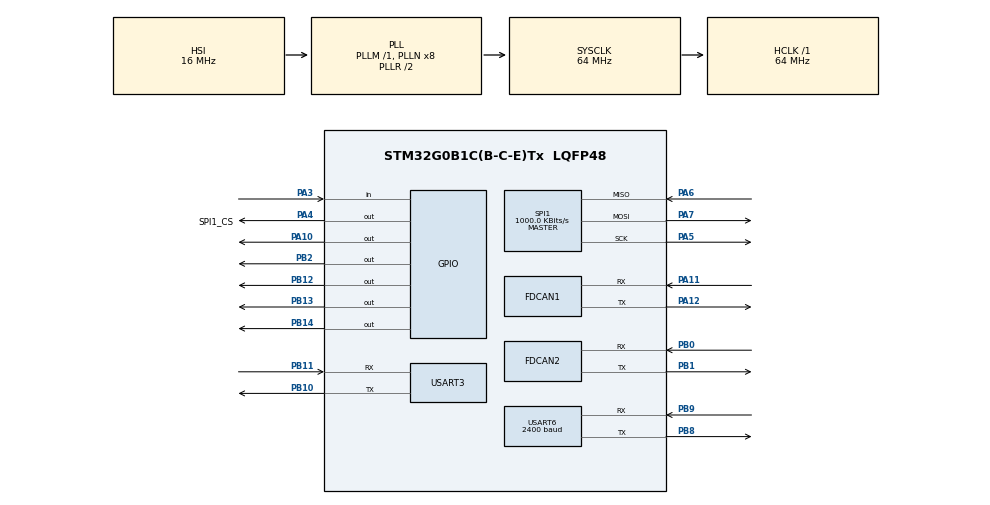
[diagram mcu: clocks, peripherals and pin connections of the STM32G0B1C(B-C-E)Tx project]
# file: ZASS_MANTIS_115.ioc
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Dma.Request0=USART6_RX
Dma.USART6_RX.0.Direction=DMA_PERIPH_TO_MEMORY
Dma.USART6_RX.0.EventEnable=DISABLE
Dma.USART6_RX.0.Instance=DMA1_Channel1
Dma.USART6_RX.0.MemDataAlignment=DMA_MDATAALIGN_BYTE
Dma.USART6_RX.0.MemInc=DMA_MINC_ENABLE
Dma.USART6_RX.0.Mode=DMA_CIRCULAR
Dma.USART6_RX.0.PeriphDataAlignment=DMA_PDATAALIGN_BYTE
Dma.USART6_RX.0.PeriphInc=DMA_PINC_DISABLE
Dma.USART6_RX.0.Polarity=HAL_DMAMUX_REQ_GEN_RISING
Dma.USART6_RX.0.Priority=DMA_PRIORITY_LOW
Dma.USART6_RX.0.RequestNumber=1
Dma.USART6_RX.0.SignalID=NONE
Dma.USART6_RX.0.SyncEnable=DISABLE
Dma.USART6_RX.0.SyncPolarity=HAL_DMAMUX_SYNC_NO_EVENT
Dma.USART6_RX.0.SyncRequestNumber=1
Dma.USART6_RX.0.SyncSignalID=NONE
FATFS._USE_LABEL=1
FATFS._USE_LFN=3
FDCAN1.AutoRetransmission=ENABLE
FDCAN1.CalculateBaudRateNominal=250000
FDCAN1.CalculateTimeBitNominal=4000
FDCAN1.CalculateTimeQuantumNominal=250.0
FDCAN1.NominalTimeSeg1=13
FDCAN1.NominalTimeSeg2=2
FDCAN2.AutoRetransmission=ENABLE
FDCAN2.CalculateBaudRateNominal=125000
FDCAN2.CalculateTimeBitNominal=8000
FDCAN2.CalculateTimeQuantumNominal=500.0
FDCAN2.NominalPrescaler=32
FDCAN2.NominalTimeSeg1=13
FDCAN2.NominalTimeSeg2=2
FREERTOS.Tasks01=defaultTask,24,256,StartDefaultTask,Default,NULL,Dynamic,NULL,NULL;myTask02,8,2048,StartTask02,Default,NULL,Dynamic,NULL,NULL
FREERTOS.configTOTAL_HEAP_SIZE=20480
Mcu.Family=STM32G0
Mcu.Name=STM32G0B1C(B-C-E)Tx
Mcu.Package=LQFP48
NVIC.DMA1_Channel1_IRQn=true\:3\:0\:false\:false\:true\:true\:false\:true\:true
NVIC.TIM16_FDCAN_IT0_IRQn=true\:3\:0\:false\:false\:true\:true\:true\:true\:true
NVIC.TIM17_FDCAN_IT1_IRQn=true\:3\:0\:false\:false\:true\:true\:true\:true\:true
NVIC.TIM2_IRQn=true\:3\:0\:false\:false\:true\:false\:false\:true\:true
NVIC.TimeBase=TIM2_IRQn
NVIC.TimeBaseIP=TIM2
NVIC.USART3_4_5_6_LPUART1_IRQn=true\:3\:0\:false\:false\:true\:true\:true\:true\:true
PA10.Signal=GPIO_Output
PA11\ [PA9].Mode=FDCAN_Activate
PA11\ [PA9].Signal=FDCAN1_RX
PA12\ [PA10].Mode=FDCAN_Activate
PA12\ [PA10].Signal=FDCAN1_TX
PA13.Mode=Serial_Wire
PA13.Signal=SYS_SWDIO
PA14-BOOT0.Mode=Serial_Wire
PA14-BOOT0.Signal=SYS_SWCLK
PA3.Signal=GPIO_Input
PA4.GPIO_Label=SPI1_CS
PA4.GPIO_Speed=GPIO_SPEED_FREQ_VERY_HIGH
PA4.Signal=GPIO_Output
PA5.GPIO_Speed=GPIO_SPEED_FREQ_VERY_HIGH
PA5.Mode=Full_Duplex_Master
PA5.Signal=SPI1_SCK
PA6.GPIO_Speed=GPIO_SPEED_FREQ_VERY_HIGH
PA6.Mode=Full_Duplex_Master
PA6.Signal=SPI1_MISO
PA7.GPIO_Speed=GPIO_SPEED_FREQ_VERY_HIGH
PA7.Mode=Full_Duplex_Master
PA7.Signal=SPI1_MOSI
PB0.Mode=FDCAN_Activate
PB0.Signal=FDCAN2_RX
PB1.Mode=FDCAN_Activate
PB1.Signal=FDCAN2_TX
PB10.Mode=Asynchronous
PB10.Signal=USART3_TX
PB11.Mode=Asynchronous
PB11.Signal=USART3_RX
PB12.Signal=GPIO_Output
PB13.Signal=GPIO_Output
PB14.Signal=GPIO_Output
PB2.Signal=GPIO_Output
PB8.Mode=Asynchronous
PB8.Signal=USART6_TX
PB9.Mode=Asynchronous
PB9.Signal=USART6_RX
PC14-OSC32_IN\ (PC14).Mode=LSE-External-Oscillator
PC14-OSC32_IN\ (PC14).Signal=RCC_OSC32_IN
PC15-OSC32_OUT\ (PC15).Mode=LSE-External-Oscillator
PC15-OSC32_OUT\ (PC15).Signal=RCC_OSC32_OUT
PF0-OSC_IN\ (PF0).Mode=HSE-External-Oscillator
PF0-OSC_IN\ (PF0).Signal=RCC_OSC_IN
PF1-OSC_OUT\ (PF1).Mode=HSE-External-Oscillator
PF1-OSC_OUT\ (PF1).Signal=RCC_OSC_OUT
ProjectManager.HeapSize=0x200
ProjectManager.StackSize=0x400
ProjectManager.TargetToolchain=STM32CubeIDE
RCC.ADCFreq_Value=64000000
RCC.AHBFreq_Value=64000000
RCC.CortexFreq_Value=64000000
RCC.EXTERNAL_CLOCK_VALUE=48000
RCC.HCLKFreq_Value=64000000
RCC.HSE_VALUE=24000000
RCC.HSI48_VALUE=48000000
RCC.HSI_VALUE=16000000
RCC.SYSCLKFreq_VALUE=64000000
RCC.SYSCLKSource=RCC_SYSCLKSOURCE_PLLCLK
RCC.USBFreq_Value=48000000
RCC.VCOOutputFreq_Value=128000000
SPI1.BaudRatePrescaler=SPI_BAUDRATEPRESCALER_64
SPI1.CalculateBaudRate=1000.0 KBits/s
SPI1.DataSize=SPI_DATASIZE_8BIT
SPI1.Direction=SPI_DIRECTION_2LINES
SPI1.Mode=SPI_MODE_MASTER
SPI1.VirtualType=VM_MASTER
USART3.VirtualMode-Asynchronous=VM_ASYNC
USART6.BaudRate=2400
USART6.SwapParam=ADVFEATURE_SWAP_DISABLE
USART6.VirtualMode-Asynchronous=VM_ASYNC
VP_FATFS_VS_Generic.Mode=User_defined
VP_FREERTOS_VS_CMSIS_V2.Mode=CMSIS_V2
VP_RTC_VS_RTC_Activate.Mode=RTC_Enabled
VP_SYS_VS_DBSignals.Mode=DisableDeadBatterySignals
VP_SYS_VS_tim2.Mode=TIM2
board=custom

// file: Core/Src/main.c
/* USER CODE BEGIN Header */
/**
  ******************************************************************************
  * @file           : main.c
  * @brief          : Main program body
  ******************************************************************************
  * @attention
  *
  * Copyright (c) 2026 STMicroelectronics.
  * All rights reserved.
  *
  * This software is licensed under terms that can be found in the LICENSE file
  * in the root directory of this software component.
  * If no LICENSE file comes with this software, it is provided AS-IS.
  *
  ******************************************************************************
  */
/* USER CODE END Header */
#include "main.h"
#include "cmsis_os.h"
#include "app_fatfs.h"

/* USER CODE BEGIN Includes */
#include "stdint.h"
#include "stdbool.h"
#include "string.h"
#include "guvenlik.h"   /* GUVENLIK: 8 kural uyari modulu */
#include "bms_veri.h"   /* BMS: UART6 cozumu + etkin kaynak + SD satirlari */
#include "saat.h"       /* SAAT: RTC (LSE + pil) */
#include "Task_SDCard.h"/* SD: kayit gorevi */

/* USER CODE END Includes */

/* USER CODE BEGIN PTD */
volatile uint32_t chg_busoff_sayaci  = 0;   /* debug: kac kez bus-off oldu      */
volatile uint8_t  chg_hat_durumu     = 0;   /* debug: 0=sessiz 1=gonderiyor 2=busoff */
volatile uint32_t charger_rx_last_ms = 0;
volatile uint8_t  charger_seen       = 0;
/* USER CODE END PTD */

/* USER CODE BEGIN PD */
#define BMS_VOLT_MIN 16.0f
#define BMS_VOLT_MAX 30.0f
volatile uint8_t  bms_data_ready;    /* yeni cozulmus veri var */
volatile uint8_t  bms_dump_ready;    /* yeni ham paket var (dump icin) */
volatile uint8_t  bms_data_valid;    /* en az bir GECERLI (sifir-olmayan) paket geldi */
volatile uint32_t bms_last_rx_ms;    /* son gecerli paketin HAL_GetTick() zamani */
#define CHARGER_CAN   hfdcan2         /* sarj cihazi 2. CAN hattinda (125 kbps!) */

uint8_t data[8];

/* USER CODE END PD */

/* USER CODE BEGIN PM */
uint16_t BMS = 0;
#define RX_BUF_SIZE 256
uint8_t dma_rx_buf[RX_BUF_SIZE];
#define BMS_PAYLOAD_LENGTH 90
float gercek_akim;
uint16_t CurentCounter ;
uint8_t isFirstStart = 0;

uint8_t rx_byte;                 // Anlık okunan 1 byte
uint8_t bms_payload[BMS_PAYLOAD_LENGTH]; // Yakalanan 90 bytelık ana veri
uint16_t payload_index = 0;
volatile uint8_t bms_data_ready = 0;     // Ana döngüye haber verecek bayrak
uint8_t x;
uint8_t dma_raw_buffer[256]; // DMA'nın ham veri karalama defteri
   // Asla kaymayan, jilet gibi sabit dizimiz
volatile uint8_t packet_count = 0; // Kaç tane sağlam paket yakaladık (Debug için)
uint8_t x,y;
bms_data_t my_bms_can;                       // CAN'dan cozulen veri (my_bms'in ikizi)
FDCAN_Message_t receivedMessage[16];
FDCAN_RxHeaderTypeDef RxHeader;
FDCAN_RxHeaderTypeDef TxHeader;
uint8_t RxData[8];
uint8_t TxData[8] = {11,22,33,44,55,66,77,88};
volatile uint8_t  can_data_ready = 0;        // CAN'dan gecerli veri geldi
volatile uint32_t can_last_rx_ms = 0;        // son CAN karesinin zamani
static volatile uint8_t CAN_First_Data_Flag = 0;
uint8_t alarm ;
/* BMS'ten gelen sarj istegi (0x1806E5F4, BIG-ENDIAN) */
uint8_t  chg_raw[4];                  /* gerilim+akim ham 4 byte (aynen kopyalanacak) */
uint8_t  chg_sw      = 1;             /* 0 = sarj cihazi ACIK, 1 = KAPALI */
uint8_t  chg_heat    = 0;             /* 0 = sarj modu, 1 = isitma modu */
volatile uint8_t  chg_data_ready = 0;
volatile uint32_t chg_last_rx_ms = 0;

/* Sarj cihazindan gelen durum (0x227) */
uint16_t charger_volt = 0;            /* 0.1 V */
uint16_t charger_curr = 0;            /* 0.1 A */
uint8_t  charger_status = 0;          /* bit0 HW, bit1 sicaklik, bit2 giris, bit3 start, bit4 haberlesme */
volatile uint32_t charger_last_rx_ms = 0;
uint8_t taze;
/* USER CODE END PM */

FDCAN_HandleTypeDef hfdcan1;
FDCAN_HandleTypeDef hfdcan2;

RTC_HandleTypeDef hrtc;

SPI_HandleTypeDef hspi1;

UART_HandleTypeDef huart3;
UART_HandleTypeDef huart6;
DMA_HandleTypeDef hdma_usart6_rx;

/* Definitions for defaultTask */
osThreadId_t defaultTaskHandle;
const osThreadAttr_t defaultTask_attributes = {
  .name = "defaultTask",
  .priority = (osPriority_t) osPriorityNormal,
  .stack_size = 256 * 4
};
/* Definitions for myTask02 */
osThreadId_t myTask02Handle;
const osThreadAttr_t myTask02_attributes = {
  .name = "myTask02",
  .priority = (osPriority_t) osPriorityLow,
  .stack_size = 2048 * 4
};
/* USER CODE BEGIN PV */
RTC_DateTypeDef sDate;
RTC_TimeTypeDef sTime;
/* USER CODE END PV */

void SystemClock_Config(void);
static void MX_GPIO_Init(void);
static void MX_DMA_Init(void);
static void MX_SPI1_Init(void);
static void MX_RTC_Init(void);
static void MX_USART3_UART_Init(void);
static void MX_USART6_UART_Init(void);
static void MX_FDCAN1_Init(void);
static void MX_FDCAN2_Init(void);
void StartDefaultTask(void *argument);
void StartTask02(void *argument);

/* USER CODE BEGIN PFP */
// JK BMS "Tüm Verileri Oku" sihirli dizisi

/* USER CODE END PFP */

/* USER CODE BEGIN 0 */

void Charger_Mesaj_Gonder(void)
{

    taze = (chg_data_ready && (HAL_GetTick() - chg_last_rx_ms) <= 3000);

    if (taze) {
        data[0] = chg_raw[0];         // istenen max sarj gerilimi MSB (aynen)
        data[1] = chg_raw[1];         //                           LSB
        data[2] = chg_raw[2];         // istenen max sarj akimi    MSB (aynen)
        data[3] = chg_raw[3];         //                           LSB
        if      (chg_heat == 1) data[4] = 2;   // 2 = isitmayi baslat
        else if (chg_sw   == 1) data[4] = 1;   // 1 = sarji durdur
        else                    data[4] = 0;   // 0 = sarji baslat
    } else {
        /* BMS istegi yok/bayat -> GUVENLI TARAF: sifir talep + DUR komutu */
        data[0] = 0; data[1] = 0; data[2] = 0; data[3] = 0;
        data[4] = 1;
    }
    data[5] = (my_bms_can.soc >= 100) ? 1 : 0;   // SOC %100 bayragi
    data[6] = (uint8_t)my_bms_can.soc;           // SOC 0..100
    data[7] = 0;  // yedek

    TxHeader.Identifier          = 0x272;
    TxHeader.IdType              = FDCAN_STANDARD_ID;
    TxHeader.DataLength          = FDCAN_DLC_BYTES_8;
    TxHeader.ErrorStateIndicator = FDCAN_ESI_ACTIVE;
    TxHeader.BitRateSwitch       = FDCAN_BRS_OFF;
    TxHeader.FDFormat            = FDCAN_CLASSIC_CAN;

    if (HAL_FDCAN_GetTxFifoFreeLevel(&CHARGER_CAN) > 0)
        HAL_FDCAN_AddMessageToTxFifoQ(&CHARGER_CAN, &TxHeader, data);
}
void StoreMessage(uint8_t index)
{
    if (index < 16) {
        receivedMessage[index].ID  = RxHeader.Identifier;
        receivedMessage[index].IDE = RxHeader.IdType;
        receivedMessage[index].RTR = RxHeader.RxFrameType;
        receivedMessage[index].DLC = RxHeader.DataLength;
        memcpy(receivedMessage[index].Data, RxData, 8);
    }
}
void CAN_Mesajini_Coz(void)
{
    uint8_t *d = RxData;
    uint8_t ext = (RxHeader.IdType == FDCAN_EXTENDED_ID);

    /* BMS: olcumler ortak cozucude (bms_veri.c): 25 hucreye kadar (E0..E6), eski hucre temizligi.
     * 1 donerse Battery Status_1 geldi -> CAN canli. */
    if (BMS_CAN_Coz(RxHeader.Identifier, ext, d, &my_bms_can, HAL_GetTick()))
    {
        can_data_ready = 1;                   // ana veri geldi -> CAN canli
        can_last_rx_ms = HAL_GetTick();
    }

    if (ext && (RxHeader.Identifier & 0x1FFFFF00) == 0x1806E500)  // BMS Chg INFO - sarj istegi. DIKKAT: BU FRAME BIG-ENDIAN!
    {
        chg_raw[0] = d[0];  chg_raw[1] = d[1];   // gerilim MSB/LSB (0.1V)
        chg_raw[2] = d[2];  chg_raw[3] = d[3];   // akim    MSB/LSB (0.1A)
        chg_sw     = d[4];                        // 0 = acik, 1 = kapali
        chg_heat   = d[5];                        // 0 = sarj, 1 = isitma
        chg_data_ready = 1;
        chg_last_rx_ms = HAL_GetTick();
    }
}// FIFO0'daki TUM mesajlari oku + sakla + coz (eski uzun fonksiyonun kisa hali)
void ReceiveFDCANMessage(void)
{
    while (HAL_FDCAN_GetRxFifoFillLevel(&hfdcan1, FDCAN_RX_FIFO0) > 0)
    {
        if (HAL_FDCAN_GetRxMessage(&hfdcan1, FDCAN_RX_FIFO0, &RxHeader, RxData) != HAL_OK)
            break;

        uint8_t node = RxHeader.Identifier & 0xFF;      // ID'nin son byte'i
        if (node != 0xF4 && node != 0xF5) continue;     // BMS disi kareleri atla

        CAN_First_Data_Flag = 1;

        // SD log slotlari: E0..E6 -> 0..6, F1..F5 -> 10..14, 0x2xx -> 8, 0x4xx -> 9
        if (RxHeader.IdType == FDCAN_EXTENDED_ID) {
            uint8_t grp = (RxHeader.Identifier >> 16) & 0xFF;
            if      (grp >= 0xE0 && grp <= 0xE6) StoreMessage(grp - 0xE0);   /* BMS: E6 = 25. hucre */
            else if (grp >= 0xF1 && grp <= 0xF5) StoreMessage(9 + (grp - 0xF0));
        } else {
            uint16_t b = RxHeader.Identifier & 0x700;
            if      (b == 0x200) StoreMessage(8);
            else if (b == 0x400) StoreMessage(9);
        }

        CAN_Mesajini_Coz();
        Guvenlik_Kare(RxHeader.Identifier, (RxHeader.IdType == FDCAN_EXTENDED_ID), RxData);   /* GUVENLIK */
    }
}
// Mesaj gelince donanim buraya atlar; okuma kisa oldugu icin direkt burada yapilir
void HAL_FDCAN_RxFifo0Callback(FDCAN_HandleTypeDef *hfdcan, uint32_t RxFifo0ITs)
{
    if ((RxFifo0ITs & FDCAN_IT_RX_FIFO0_NEW_MESSAGE) != RESET)
    {
        if (hfdcan->Instance == FDCAN1)
            ReceiveFDCANMessage();
    }
}
// CAN verisine gore buzzer - BMS_Buzzer_Update'in CAN ikizi
void CAN_Buzzer_Update(void)
{
    if (Guvenlik_Buzzer_Aktif()) return;   /* GUVENLIK: buzzer o sirada modulde */

    /* SOC dusuk ama alarm yok ve sarj oluyorsa (akim +) otme.
     * GUVENLIK: sicaklik buzzer'i guvenlik modulunde (kural 4/5/6, ekran uyarisiyla birlikte);
     * eski ">= 55 C" kosulu ekranda hicbir uyari yokken (ozellikle MOS) surekli otturuyordu. */
	if(my_bms_can.soc <= 20){

    	if(my_bms_can.soc <= 20 && my_bms_can.battery_current > 1){
    		if(CurentCounter == 30){
    			CurentCounter = 30;
    		}
    		else{
    			CurentCounter++;
    		}
    		if(CurentCounter >=30){
    	    	HAL_GPIO_WritePin(GPIOB, GPIO_PIN_2,GPIO_PIN_RESET);
    	    	HAL_GPIO_WritePin(GPIOA, GPIO_PIN_10,GPIO_PIN_RESET);
    		}
    	}
    	else
    	    {
    		CurentCounter = 0;
    HAL_GPIO_WritePin(GPIOA, GPIO_PIN_10,GPIO_PIN_SET);
    HAL_GPIO_WritePin(GPIOB, GPIO_PIN_2,GPIO_PIN_SET);
    	    }
	}
    	else{

    	HAL_GPIO_WritePin(GPIOB, GPIO_PIN_2,GPIO_PIN_RESET);
    	HAL_GPIO_WritePin(GPIOA, GPIO_PIN_10,GPIO_PIN_RESET);
    }
}
// CAN'dan taze veri var mi? (UART'taki BMS_IsReady'nin ikizi)
uint8_t CAN_IsReady(void)
{
    if (!can_data_ready) return 0;
    return ((HAL_GetTick() - can_last_rx_ms) <= 3000) ? 1 : 0;
}
/* GUVENLIK: ekranda SICAKLIK 1 = en yuksek, SICAKLIK 2 = en dusuk sicaklik (BMS max/min +
 * tum gecerli problar, guvenlik.c ile ayni deger). Gecerli deger yoksa YAZILMAZ: ekranda son
 * gecerli deger kalir (sicaklik verisi kesilirse 5 sn sonra "sensor hatasi"). */
static void Sicaklik_Ekrana(void)
{
    int16_t mx = 0, mn = 0;
    uint8_t ok = Guvenlik_Ekran_Sicaklik(&mx, &mn);       /* pop-up acikken 2 = maks (bilgi cubugu) */
    if (ok & 1u) DWIN_Ekrana_Yaz_RTOS(0x1020, (uint16_t)mx);
    if (ok & 2u) DWIN_Ekrana_Yaz_RTOS(0x1040, (uint16_t)mn);
    if (ok == 3u) Sicaklik_Renk_Guncelle(mx, mn);
}
// CAN verilerini DWIN'e gonder - UART gonderme blogunun ikizi, my_bms_can okur
void CAN_DWIN_Gonder(void)
{
    DWIN_Float_Yaz(0x1060, my_bms_can.battery_volts);            // voltaj

    float gercek_akim_can = (float)my_bms_can.battery_current / 10.0f;
    DWIN_Float_Yaz(0x1080, gercek_akim_can);                     // akim
    Akim_Renk_Guncelle(gercek_akim_can);

    Sicaklik_Ekrana();                                           /* GUVENLIK: 1 = maks, 2 = min */

    SOC_Bar_Guncelle(my_bms_can.soc, gercek_akim_can);           // SOC+bar+durum+renk
    CAN_Buzzer_Update();
}
/* USER CODE BEGIN PTD */
// JK BMS'den gelen anlamlı verileri tutacağımız yapı (Struct)
void battery_screen_task(void);

// Durum makinesi (State Machine) adımları
typedef enum {
    WAIT_A5, WAIT_5A, WAIT_5D, WAIT_82, WAIT_10, WAIT_00, RECEIVE_PAYLOAD
} BMS_State;

bms_data_t my_bms;             // Her yerden erişebileceğimiz asıl BMS verimiz
BMS_State bms_state = WAIT_A5;   // Başlangıç durumu

void Charger_Process(void)
{
    static uint32_t son_gonderim = 0;
    FDCAN_ProtocolStatusTypeDef ps;
    FDCAN_RxHeaderTypeDef rh;
    FDCAN_TxHeaderTypeDef tx;
    uint8_t rd[8], data[8];
    uint32_t now = HAL_GetTick();

    /* --- 1) BUS-OFF KURTARMA (asil cozum) ---
     * Donanim bus-off'ta CCCR.INIT'i kendi set eder ve BIR DAHA CALISMAZ.
     * INIT'i temizlemek toparlanma dizisini baslatir (129 x 11 recessive bit,
     * 125 kbps'de ~11 ms). Dizi bitince TEC/REC donanim tarafindan SIFIRLANIR. */
    HAL_FDCAN_GetProtocolStatus(&hfdcan2, &ps);
    if (ps.BusOff) {
        if (chg_hat_durumu != 2) chg_busoff_sayaci++;
        chg_hat_durumu = 2;
        CLEAR_BIT(hfdcan2.Instance->CCCR, FDCAN_CCCR_INIT);
        return;                                  /* bu tur gonderme */
    }

    /* --- 2) Gelen kareleri yokla (kesme yok, polling) --- */
    while (HAL_FDCAN_GetRxFifoFillLevel(&hfdcan2, FDCAN_RX_FIFO0) > 0) {
        if (HAL_FDCAN_GetRxMessage(&hfdcan2, FDCAN_RX_FIFO0, &rh, rd) != HAL_OK) break;
        charger_seen = 1;  charger_rx_last_ms = now;      /* hatta biri var */
        if (rh.Identifier == 0x227) {                     /* BIG-ENDIAN */
            charger_volt   = (rd[0] << 8) | rd[1];
            charger_curr   = (rd[2] << 8) | rd[3];
            charger_status =  rd[4];
        }
    }

    /* --- 3) Sarj takili degilse HIC GONDERME ---
     * Bos hatta gonderilen her kare ACK alamaz -> TEC += 8 -> ~32 karede bus-off.
     * BMS sarj istegini sadece cihaz takiliyken yolluyor (protokol 7.2),
     * sarj cihazi da takilir takilmaz 0x227 yayinliyor: ikisi de tetikleyici. */
        uint8_t sarj_takili = (CAN_IsReady() && my_bms_can.chg_plug);
        uint8_t hat_canli   = (charger_seen  && (now - charger_rx_last_ms) <= 3000);

        if (!sarj_takili && !hat_canli) {
            chg_hat_durumu = 0;
            return;
        }

    /* --- 4) Saniyede bir 0x272 bas --- */
    if ((now - son_gonderim) < 1000) return;
    son_gonderim = now;
    chg_hat_durumu = 1;

    if (chg_data_ready) {
        data[0] = chg_raw[0];  data[1] = chg_raw[1];      /* gerilim MSB/LSB */
        data[2] = chg_raw[2];  data[3] = chg_raw[3];      /* akim    MSB/LSB */
        if      (chg_heat == 1) data[4] = 2;              /* isitma          */
        else if (chg_sw   == 1) data[4] = 1;              /* dur             */
        else                    data[4] = 0;              /* sarj et         */
    } else {
        data[0] = 0; data[1] = 0; data[2] = 0; data[3] = 0;
        data[4] = 1;                                      /* hat var, BMS istemiyor -> dur */
    }
    data[5] = (my_bms_can.soc >= 100) ? 1 : 0;
    data[6] = (uint8_t)my_bms_can.soc;
    data[7] = 0;

    tx.Identifier          = 0x272;
    tx.IdType              = FDCAN_STANDARD_ID;
    tx.TxFrameType         = FDCAN_DATA_FRAME;
    tx.DataLength          = FDCAN_DLC_BYTES_8;
    tx.ErrorStateIndicator = FDCAN_ESI_ACTIVE;
    tx.BitRateSwitch       = FDCAN_BRS_OFF;
    tx.FDFormat            = FDCAN_CLASSIC_CAN;
    tx.TxEventFifoControl  = FDCAN_NO_TX_EVENTS;
    tx.MessageMarker       = 0;

    if (HAL_FDCAN_GetTxFifoFreeLevel(&hfdcan2) > 0)
        HAL_FDCAN_AddMessageToTxFifoQ(&hfdcan2, &tx, data);
}

/* USER CODE END 0 */

int main(void)
{

  /* MCU Configuration--------------------------------------------------------*/

  /* Reset of all peripherals, Initializes the Flash interface and the Systick. */
  HAL_Init();

  /* Configure the system clock */
  SystemClock_Config();

  /* Initialize all configured peripherals */
  MX_GPIO_Init();
  MX_DMA_Init();
  MX_SPI1_Init();
  MX_RTC_Init();
  if (MX_FATFS_Init() != APP_OK) {
    Error_Handler();
  }
  MX_USART3_UART_Init();
  MX_USART6_UART_Init();
  MX_FDCAN1_Init();
  MX_FDCAN2_Init();
  /* USER CODE BEGIN 2 */
  // HAL_UART_Receive_IT(&huart6, &rx_byte, 1);
  HAL_GPIO_WritePin(GPIOB, GPIO_PIN_2, RESET);

  HAL_GPIO_WritePin(GPIOA, GPIO_PIN_10,GPIO_PIN_RESET);

  Guvenlik_Init(&huart3, &hrtc);   /* GUVENLIK: DWIN = USART3 (huart3); huart6 BMS UART'i, KULLANMA */

  HAL_FDCAN_ConfigGlobalFilter(&hfdcan1,
                                   FDCAN_ACCEPT_IN_RX_FIFO0, FDCAN_ACCEPT_IN_RX_FIFO0,
                                   FDCAN_REJECT_REMOTE, FDCAN_REJECT_REMOTE);
      HAL_FDCAN_Start(&hfdcan1);
      HAL_FDCAN_ActivateNotification(&hfdcan1, FDCAN_IT_RX_FIFO0_NEW_MESSAGE, 0);

      HAL_FDCAN_Start(&hfdcan2);
// UART Idle kesmesini başlat
  HAL_UARTEx_ReceiveToIdle_DMA(&huart6, dma_raw_buffer, 256);
  __HAL_DMA_DISABLE_IT(huart6.hdmarx, DMA_IT_HT);
  /* USER CODE END 2 */

  /* Init scheduler */
  osKernelInitialize();

  /* Create the thread(s) */
  /* creation of defaultTask */
  defaultTaskHandle = osThreadNew(StartDefaultTask, NULL, &defaultTask_attributes);

  /* creation of myTask02 */
  myTask02Handle = osThreadNew(StartTask02, NULL, &myTask02_attributes);

  /* Start scheduler */
  osKernelStart();

  /* We should never get here as control is now taken by the scheduler */

  /* Infinite loop */
  while (1)
  {

    /* USER CODE BEGIN 3 */
	  // 1. Buffer'ı temizle
	  // Komutu hatta gönder (6 byte)

  }
  /* USER CODE END 3 */
}

void SystemClock_Config(void)
{
  RCC_OscInitTypeDef RCC_OscInitStruct = {0};
  RCC_ClkInitTypeDef RCC_ClkInitStruct = {0};

  /** Configure the main internal regulator output voltage
  */
  HAL_PWREx_ControlVoltageScaling(PWR_REGULATOR_VOLTAGE_SCALE1);

  /** Initializes the RCC Oscillators according to the specified parameters
  * in the RCC_OscInitTypeDef structure.
  */
  RCC_OscInitStruct.OscillatorType = RCC_OSCILLATORTYPE_HSI|RCC_OSCILLATORTYPE_LSI;
  RCC_OscInitStruct.HSIState = RCC_HSI_ON;
  RCC_OscInitStruct.HSIDiv = RCC_HSI_DIV1;
  RCC_OscInitStruct.HSICalibrationValue = RCC_HSICALIBRATION_DEFAULT;
  RCC_OscInitStruct.LSIState = RCC_LSI_ON;
  RCC_OscInitStruct.PLL.PLLState = RCC_PLL_ON;
  RCC_OscInitStruct.PLL.PLLSource = RCC_PLLSOURCE_HSI;
  RCC_OscInitStruct.PLL.PLLM = RCC_PLLM_DIV1;
  RCC_OscInitStruct.PLL.PLLN = 8;
  RCC_OscInitStruct.PLL.PLLP = RCC_PLLP_DIV2;
  RCC_OscInitStruct.PLL.PLLQ = RCC_PLLQ_DIV2;
  RCC_OscInitStruct.PLL.PLLR = RCC_PLLR_DIV2;
  if (HAL_RCC_OscConfig(&RCC_OscInitStruct) != HAL_OK)
  {
    Error_Handler();
  }

  /** Initializes the CPU, AHB and APB buses clocks
  */
  RCC_ClkInitStruct.ClockType = RCC_CLOCKTYPE_HCLK|RCC_CLOCKTYPE_SYSCLK
                              |RCC_CLOCKTYPE_PCLK1;
  RCC_ClkInitStruct.SYSCLKSource = RCC_SYSCLKSOURCE_PLLCLK;
  RCC_ClkInitStruct.AHBCLKDivider = RCC_SYSCLK_DIV1;
  RCC_ClkInitStruct.APB1CLKDivider = RCC_HCLK_DIV1;

  if (HAL_RCC_ClockConfig(&RCC_ClkInitStruct, FLASH_LATENCY_2) != HAL_OK)
  {
    Error_Handler();
  }
}

static void MX_FDCAN1_Init(void)
{

  hfdcan1.Instance = FDCAN1;
  hfdcan1.Init.ClockDivider = FDCAN_CLOCK_DIV1;
  hfdcan1.Init.FrameFormat = FDCAN_FRAME_CLASSIC;
  hfdcan1.Init.Mode = FDCAN_MODE_NORMAL;
  hfdcan1.Init.AutoRetransmission = ENABLE;
  hfdcan1.Init.TransmitPause = DISABLE;
  hfdcan1.Init.ProtocolException = DISABLE;
  hfdcan1.Init.NominalPrescaler = 16;
  hfdcan1.Init.NominalSyncJumpWidth = 1;
  hfdcan1.Init.NominalTimeSeg1 = 13;
  hfdcan1.Init.NominalTimeSeg2 = 2;
  hfdcan1.Init.DataPrescaler = 1;
  hfdcan1.Init.DataSyncJumpWidth = 1;
  hfdcan1.Init.DataTimeSeg1 = 1;
  hfdcan1.Init.DataTimeSeg2 = 1;
  hfdcan1.Init.StdFiltersNbr = 0;
  hfdcan1.Init.ExtFiltersNbr = 0;
  hfdcan1.Init.TxFifoQueueMode = FDCAN_TX_FIFO_OPERATION;
  if (HAL_FDCAN_Init(&hfdcan1) != HAL_OK)
  {
    Error_Handler();
  }

}

static void MX_FDCAN2_Init(void)
{

  hfdcan2.Instance = FDCAN2;
  hfdcan2.Init.ClockDivider = FDCAN_CLOCK_DIV1;
  hfdcan2.Init.FrameFormat = FDCAN_FRAME_CLASSIC;
  hfdcan2.Init.Mode = FDCAN_MODE_NORMAL;
  hfdcan2.Init.AutoRetransmission = ENABLE;
  hfdcan2.Init.TransmitPause = DISABLE;
  hfdcan2.Init.ProtocolException = DISABLE;
  hfdcan2.Init.NominalPrescaler = 32;
  hfdcan2.Init.NominalSyncJumpWidth = 1;
  hfdcan2.Init.NominalTimeSeg1 = 13;
  hfdcan2.Init.NominalTimeSeg2 = 2;
  hfdcan2.Init.DataPrescaler = 1;
  hfdcan2.Init.DataSyncJumpWidth = 1;
  hfdcan2.Init.DataTimeSeg1 = 1;
  hfdcan2.Init.DataTimeSeg2 = 1;
  hfdcan2.Init.StdFiltersNbr = 0;
  hfdcan2.Init.ExtFiltersNbr = 0;
  hfdcan2.Init.TxFifoQueueMode = FDCAN_TX_FIFO_OPERATION;
  if (HAL_FDCAN_Init(&hfdcan2) != HAL_OK)
  {
    Error_Handler();
  }

}

static void MX_RTC_Init(void)
{

  /** Initialize RTC Only
  */
  hrtc.Instance = RTC;
  hrtc.Init.HourFormat = RTC_HOURFORMAT_24;
  hrtc.Init.AsynchPrediv = 127;
  hrtc.Init.SynchPrediv = 255;
  hrtc.Init.OutPut = RTC_OUTPUT_DISABLE;
  hrtc.Init.OutPutRemap = RTC_OUTPUT_REMAP_NONE;
  hrtc.Init.OutPutPolarity = RTC_OUTPUT_POLARITY_HIGH;
  hrtc.Init.OutPutType = RTC_OUTPUT_TYPE_OPENDRAIN;
  hrtc.Init.OutPutPullUp = RTC_OUTPUT_PULLUP_NONE;
  if (HAL_RTC_Init(&hrtc) != HAL_OK)
  {
    Error_Handler();
  }
  /* USER CODE BEGIN RTC_Init 2 */
  /* SAAT: imza yoksa derleme zamani, kesin ayar SD'deki SAAT.TXT ile; LSI'de bolucu duzeltmesi */
  Saat_Baslat(&hrtc);
#if 0   /* eski: yedek alan her sifirlandiginda sabit 19.06.2026 15:10 yaziyordu */
    // Yedekleme register'ını kontrol et.
    // Eğer daha önce 0x32F2 (rastgele seçilmiş bir imza) yazılmamışsa, saat hiç ayarlanmamış demektir.
    if (HAL_RTCEx_BKUPRead(&hrtc, RTC_BKP_DR1) != 0x32F4)
    {
        // 1. SAAT AYARI (Örnek: 14:30:00)
        sTime.Hours = 15;
        sTime.Minutes = 10;
        sTime.Seconds = 0;
        sTime.DayLightSaving = RTC_DAYLIGHTSAVING_NONE;
        sTime.StoreOperation = RTC_STOREOPERATION_RESET;

        // RTC_FORMAT_BIN kullanıyoruz çünkü sayıları direkt onluk tabanda (14, 30 vb.) yazdık.
        if (HAL_RTC_SetTime(&hrtc, &sTime, RTC_FORMAT_BIN) != HAL_OK)
        {
            Error_Handler();
        }

        // 2. TARİH AYARI (Örnek: 21 Nisan 2026, Salı)
        sDate.WeekDay = RTC_WEEKDAY_TUESDAY;
        sDate.Month = RTC_MONTH_JUNE;
        sDate.Date = 19;
        sDate.Year = 26; // 2026'nın 26'sı

        if (HAL_RTC_SetDate(&hrtc, &sDate, RTC_FORMAT_BIN) != HAL_OK)
        {
            Error_Handler();
        }

        // 3. İMZAYI YAZ
        // Saat başarıyla ayarlandı. Artık Vbat (pil) bitene kadar bu if bloğuna bir daha girmeyecek.
        HAL_RTCEx_BKUPWrite(&hrtc, RTC_BKP_DR1, 0x32F4);
    }
#endif
  /* USER CODE END RTC_Init 2 */

}

static void MX_SPI1_Init(void)
{

  /* SPI1 parameter configuration*/
  hspi1.Instance = SPI1;
  hspi1.Init.Mode = SPI_MODE_MASTER;
  hspi1.Init.Direction = SPI_DIRECTION_2LINES;
  hspi1.Init.DataSize = SPI_DATASIZE_8BIT;
  hspi1.Init.CLKPolarity = SPI_POLARITY_LOW;
  hspi1.Init.CLKPhase = SPI_PHASE_1EDGE;
  hspi1.Init.NSS = SPI_NSS_SOFT;
  hspi1.Init.BaudRatePrescaler = SPI_BAUDRATEPRESCALER_64;
  hspi1.Init.FirstBit = SPI_FIRSTBIT_MSB;
  hspi1.Init.TIMode = SPI_TIMODE_DISABLE;
  hspi1.Init.CRCCalculation = SPI_CRCCALCULATION_DISABLE;
  hspi1.Init.CRCPolynomial = 7;
  hspi1.Init.CRCLength = SPI_CRC_LENGTH_DATASIZE;
  hspi1.Init.NSSPMode = SPI_NSS_PULSE_ENABLE;
  if (HAL_SPI_Init(&hspi1) != HAL_OK)
  {
    Error_Handler();
  }

}

static void MX_USART3_UART_Init(void)
{

  huart3.Instance = USART3;
  huart3.Init.BaudRate = 115200;
  huart3.Init.WordLength = UART_WORDLENGTH_8B;
  huart3.Init.StopBits = UART_STOPBITS_1;
  huart3.Init.Parity = UART_PARITY_NONE;
  huart3.Init.Mode = UART_MODE_TX_RX;
  huart3.Init.HwFlowCtl = UART_HWCONTROL_NONE;
  huart3.Init.OverSampling = UART_OVERSAMPLING_16;
  huart3.Init.OneBitSampling = UART_ONE_BIT_SAMPLE_DISABLE;
  huart3.Init.ClockPrescaler = UART_PRESCALER_DIV1;
  huart3.AdvancedInit.AdvFeatureInit = UART_ADVFEATURE_NO_INIT;
  if (HAL_UART_Init(&huart3) != HAL_OK)
  {
    Error_Handler();
  }
  if (HAL_UARTEx_SetTxFifoThreshold(&huart3, UART_TXFIFO_THRESHOLD_1_8) != HAL_OK)
  {
    Error_Handler();
  }
  if (HAL_UARTEx_SetRxFifoThreshold(&huart3, UART_RXFIFO_THRESHOLD_1_8) != HAL_OK)
  {
    Error_Handler();
  }
  if (HAL_UARTEx_DisableFifoMode(&huart3) != HAL_OK)
  {
    Error_Handler();
  }

}

static void MX_USART6_UART_Init(void)
{

  huart6.Instance = USART6;
  huart6.Init.BaudRate = 2400;
  huart6.Init.WordLength = UART_WORDLENGTH_8B;
  huart6.Init.StopBits = UART_STOPBITS_1;
  huart6.Init.Parity = UART_PARITY_NONE;
  huart6.Init.Mode = UART_MODE_TX_RX;
  huart6.Init.HwFlowCtl = UART_HWCONTROL_NONE;
  huart6.Init.OverSampling = UART_OVERSAMPLING_16;
  huart6.Init.OneBitSampling = UART_ONE_BIT_SAMPLE_DISABLE;
  huart6.Init.ClockPrescaler = UART_PRESCALER_DIV1;
  huart6.AdvancedInit.AdvFeatureInit = UART_ADVFEATURE_NO_INIT;
  if (HAL_UART_Init(&huart6) != HAL_OK)
  {
    Error_Handler();
  }

}

static void MX_DMA_Init(void)
{

  /* DMA controller clock enable */
  __HAL_RCC_DMA1_CLK_ENABLE();

  /* DMA interrupt init */
  /* DMA1_Channel1_IRQn interrupt configuration */
  HAL_NVIC_SetPriority(DMA1_Channel1_IRQn, 3, 0);
  HAL_NVIC_EnableIRQ(DMA1_Channel1_IRQn);

}

static void MX_GPIO_Init(void)
{
  GPIO_InitTypeDef GPIO_InitStruct = {0};

  /* GPIO Ports Clock Enable */
  __HAL_RCC_GPIOC_CLK_ENABLE();
  __HAL_RCC_GPIOF_CLK_ENABLE();
  __HAL_RCC_GPIOA_CLK_ENABLE();
  __HAL_RCC_GPIOB_CLK_ENABLE();

  /*Configure GPIO pin Output Level */
  HAL_GPIO_WritePin(GPIOA, SPI1_CS_Pin|GPIO_PIN_10, GPIO_PIN_RESET);

  /*Configure GPIO pin Output Level */
  HAL_GPIO_WritePin(GPIOB, GPIO_PIN_2|GPIO_PIN_12|GPIO_PIN_13|GPIO_PIN_14, GPIO_PIN_RESET);

  /*Configure GPIO pin : PA3 */
  GPIO_InitStruct.Pin = GPIO_PIN_3;
  GPIO_InitStruct.Mode = GPIO_MODE_INPUT;
  GPIO_InitStruct.Pull = GPIO_NOPULL;
  HAL_GPIO_Init(GPIOA, &GPIO_InitStruct);

  /*Configure GPIO pin : SPI1_CS_Pin */
  GPIO_InitStruct.Pin = SPI1_CS_Pin;
  GPIO_InitStruct.Mode = GPIO_MODE_OUTPUT_PP;
  GPIO_InitStruct.Pull = GPIO_NOPULL;
  GPIO_InitStruct.Speed = GPIO_SPEED_FREQ_VERY_HIGH;
  HAL_GPIO_Init(SPI1_CS_GPIO_Port, &GPIO_InitStruct);

  /*Configure GPIO pins : PB2 PB12 PB13 PB14 */
  GPIO_InitStruct.Pin = GPIO_PIN_2|GPIO_PIN_12|GPIO_PIN_13|GPIO_PIN_14;
  GPIO_InitStruct.Mode = GPIO_MODE_OUTPUT_PP;
  GPIO_InitStruct.Pull = GPIO_NOPULL;
  GPIO_InitStruct.Speed = GPIO_SPEED_FREQ_LOW;
  HAL_GPIO_Init(GPIOB, &GPIO_InitStruct);

  /*Configure GPIO pin : PA10 */
  GPIO_InitStruct.Pin = GPIO_PIN_10;
  GPIO_InitStruct.Mode = GPIO_MODE_OUTPUT_PP;
  GPIO_InitStruct.Pull = GPIO_NOPULL;
  GPIO_InitStruct.Speed = GPIO_SPEED_FREQ_LOW;
  HAL_GPIO_Init(GPIOA, &GPIO_InitStruct);

}

/* USER CODE BEGIN 4 */
/*void BMS_Mesajini_Coz(void) {
    my_bms.battery_volts   = (float)((bms_payload[0] << 8) | bms_payload[1]) / 100.0;
    my_bms.battery_current = (int16_t)((bms_payload[2] << 8) | bms_payload[3]);
    my_bms.soc             = (bms_payload[6] << 8) | bms_payload[7];
    my_bms.cell_delta      = (bms_payload[8] << 8) | bms_payload[9];
    my_bms.mos_temp        = (int16_t)((bms_payload[10] << 8) | bms_payload[11]);
    my_bms.batt_temp       = (int16_t)((bms_payload[12] << 8) | bms_payload[13]);
    my_bms.warning         = (bms_payload[14] << 8) | bms_payload[15];
    my_bms.ave_cell_volt   = (bms_payload[16] << 8) | bms_payload[17];
    my_bms.balance_status  = (bms_payload[18] << 8) | bms_payload[19];
    my_bms.charge_mos      = (bms_payload[20] << 8) | bms_payload[21];
    my_bms.discharge_mos   = (bms_payload[22] << 8) | bms_payload[23];

    // İlk 8 hücrenin voltajını okuma (Kendi hücre sayına göre artırabilirsin)
    for (int i = 0; i < 8; i++) {
        uint16_t cell_index = 24 + (i * 2);
        my_bms.cell_volts[i] = (bms_payload[cell_index] << 8) | bms_payload[cell_index + 1];
    }
}*/
#if 0   /* BMS: yerini bms_veri.c BMS_UART_Coz() aldi (tum hucreler, hucre sayisi, paket dogrulama) */
void BMS_Mesajini_Coz(uint16_t header_index) {

    // Asıl veriler (payload) başlıktan 6 byte sonra başlıyor
    // Eski kodundaki 0. index, artık p + 0 anlamına gelecek.
    uint16_t p = header_index + 6;

    my_bms.battery_volts   = (float)((dma_raw_buffer[p + 0] << 8) | dma_raw_buffer[p + 1]) / 100.0f;
    my_bms.battery_current = (int16_t)((dma_raw_buffer[p + 2] << 8) | dma_raw_buffer[p + 3]);
    my_bms.soc             = (dma_raw_buffer[p + 6] << 8) | dma_raw_buffer[p + 7];
    my_bms.cell_delta      = (dma_raw_buffer[p + 8] << 8) | dma_raw_buffer[p + 9];
    my_bms.mos_temp        = (int16_t)((dma_raw_buffer[p + 10] << 8) | dma_raw_buffer[p + 11]);
    my_bms.batt_temp       = (int16_t)((dma_raw_buffer[p + 12] << 8) | dma_raw_buffer[p + 13]);
    my_bms.warning         = (dma_raw_buffer[p + 14] << 8) | dma_raw_buffer[p + 15];
    my_bms.ave_cell_volt   = (dma_raw_buffer[p + 16] << 8) | dma_raw_buffer[p + 17];
    my_bms.balance_status  = (dma_raw_buffer[p + 18] << 8) | dma_raw_buffer[p + 19];
    my_bms.charge_mos      = (dma_raw_buffer[p + 20] << 8) | dma_raw_buffer[p + 21];
    my_bms.discharge_mos   = (dma_raw_buffer[p + 22] << 8) | dma_raw_buffer[p + 23];

    // İlk 8 hücrenin voltajını okuma
    for (int i = 0; i < 8; i++) {
        uint16_t cell_index = p + 24 + (i * 2);
        my_bms.cell_volts[i] = (dma_raw_buffer[cell_index] << 8) | dma_raw_buffer[cell_index + 1];
    }
}
#endif

void HAL_UARTEx_RxEventCallback(UART_HandleTypeDef *huart, uint16_t Size)
{
    if (huart->Instance == USART6)
    {
        /* BMS: A5 5A 5D 82 10 00 paketini ara, TUM hucreleri coz (bms_veri.c) */
        if (BMS_UART_Coz(dma_raw_buffer, Size, &my_bms))
        {
            bms_data_ready = 1;               // Ana döngüye haber ver
            bms_last_rx_ms = HAL_GetTick();   // mesaj geldi -> zaman damgası
            BMS_UART_Guvenlige(&my_bms);      /* GUVENLIK: CAN yoksa kurallar UART6 verisiyle */
        }

        // Yeniden dinlemeyi kur
        HAL_UART_AbortReceive(huart);
        HAL_UARTEx_ReceiveToIdle_DMA(huart, dma_raw_buffer, 256);
        __HAL_DMA_DISABLE_IT(huart->hdmarx, DMA_IT_HT);
    }
}

// Hata olursa kilitlenmeyi çözen kurtarıcı
void HAL_UART_ErrorCallback(UART_HandleTypeDef *huart)
{
    if (huart->Instance == USART6)
    {
        __HAL_UART_CLEAR_OREFLAG(huart);
        __HAL_UART_CLEAR_NEFLAG(huart);
        __HAL_UART_CLEAR_FEFLAG(huart);

        HAL_UART_AbortReceive(huart);
        HAL_UARTEx_ReceiveToIdle_DMA(huart, dma_raw_buffer, 256);
        __HAL_DMA_DISABLE_IT(huart->hdmarx, DMA_IT_HT);
    }
}
void DWIN_Ekrana_Yaz_RTOS(uint16_t vp_address, uint16_t value) {
    uint8_t dwin_frame[8];
    dwin_frame[0] = 0x5A;
    dwin_frame[1] = 0xA5;
    dwin_frame[2] = 0x05;
    dwin_frame[3] = 0x82;
    dwin_frame[4] = (vp_address >> 8);
    dwin_frame[5] = (vp_address & 0xFF);
    dwin_frame[6] = (value >> 8);
    dwin_frame[7] = (value & 0xFF);

    HAL_UART_Transmit(&huart3, dwin_frame, 8, 100);

    // RTOS'ta bu görev uyurken diğer görevler (SD Kart, CAN) çalışmaya devam eder
    osDelay(5); // CMSIS-RTOS kullanıyorsan osDelay, saf FreeRTOS ise vTaskDelay(pdMS_TO_TICKS(5))
}
void DWIN_Float_Yaz(uint16_t vp_address, float value) {
    uint8_t dwin_frame[10]; // Float için paket daha uzundur (10 byte)

    dwin_frame[0] = 0x5A;
    dwin_frame[1] = 0xA5;
    dwin_frame[2] = 0x07; // Uzunluk: Komut(1) + Adres(2) + Float Veri(4) = 7
    dwin_frame[3] = 0x82; // Yazma Komutu

    dwin_frame[4] = (vp_address >> 8);  // VP Adres High
    dwin_frame[5] = (vp_address & 0xFF);// VP Adres Low

    // Sihirli Kısım: Float değişkenini RAM'de byte byte parçalıyoruz
    uint8_t *float_bytes = (uint8_t *)&value;

    // STM32 (Little-Endian) -> DWIN (Big-Endian) dönüşümü için ters sıralıyoruz
    dwin_frame[6] = float_bytes[3];
    dwin_frame[7] = float_bytes[2];
    dwin_frame[8] = float_bytes[1];
    dwin_frame[9] = float_bytes[0];

    HAL_UART_Transmit(&huart3, dwin_frame, 10, 100);
}
/* Cozulen paket makul mu? (sifir / cop paketleri ele) */
static uint8_t bms_frame_plausible(void)
{
    if (my_bms.battery_volts < BMS_VOLT_MIN) return 0;  /* 0 dahil mantiksiz */
    if (my_bms.battery_volts > BMS_VOLT_MAX) return 0;
    return 1;
}

uint8_t BMS_IsReady(void)
{
    if (!bms_data_ready) return 0;
    return ((HAL_GetTick() - bms_last_rx_ms) <= 3000) ? 1 : 0;
}

void BMS_Buzzer_Update(void)
{
    /* 1) Henuz gecerli veri yok VEYA veri bayatladi -> KESIN SUS */
    if (!BMS_IsReady()) {
        HAL_GPIO_WritePin(GPIOB, GPIO_PIN_2, GPIO_PIN_RESET);
        return;
    }
    /* 2) Gercek alarm varsa ot, yoksa sus */
    if (my_bms.warning != 0 || my_bms.soc <= 20){

        HAL_GPIO_WritePin(GPIOB, GPIO_PIN_2, GPIO_PIN_SET);
        CurentCounter = 0;

        if(my_bms.soc <= 20 && my_bms.battery_current >=1){
        	CurentCounter++;

        			if(CurentCounter >=30){
        				HAL_GPIO_WritePin(GPIOB, GPIO_PIN_2, RESET);
        			}

        	HAL_GPIO_WritePin(GPIOB, GPIO_PIN_2, GPIO_PIN_RESET);
        }
    }
    else
        HAL_GPIO_WritePin(GPIOB, GPIO_PIN_2, GPIO_PIN_RESET);
}

/* USER CODE END 4 */

void StartDefaultTask(void *argument)
{
  /* USER CODE BEGIN 5 */
  /* Infinite loop */
  for(;;)
  {
	  if (CAN_IsReady()) {
	  	     CAN_DWIN_Gonder();                       // CAN verilerini ekrana bas
	  	 // Charger_Mesaj_Gonder();
	  	   Charger_Process();
	  	  }
	  	  else {
	  	      if (HAL_GetTick() - bms_last_rx_ms > 3000) {
	  	          bms_data_ready = 0;
	  	      }
	  	      /* GUVENLIK: UART verisi de tazede degilse ekrana YAZILMAZ (eskiden bos/eski my_bms
	  	       * degerleri - 0 V, 0 A, SOC 0 - basiliyordu). Son degerler kalir, 5 sn sonra
	  	       * haberlesme hatasi (kural 7) acilir. */
	  	      if (BMS_IsReady()) {
	  	      // ===== SENİN MEVCUT UART BLOĞUN =====
	  	      DWIN_Float_Yaz(0x1060, my_bms.battery_volts);
	  	      float gercek_akim = (float)my_bms.battery_current / 10.0f;
	  	      DWIN_Float_Yaz(0x1080, gercek_akim);
	  	      Akim_Renk_Guncelle(gercek_akim);
	  	      Sicaklik_Ekrana();                         /* GUVENLIK: 1 = maks, 2 = min */
	  	      SOC_Bar_Guncelle(my_bms.soc, gercek_akim);
	  	         // BMS_Buzzer_Update();
	  	      }
	  	  }

	  // 1. ADIM: 36 Byte'lık paketi UART6 üzerinden gönder
	  //
	 /* // Eğer kesme fonksiyonu tam bir 0x1000 paketini başarıyla aldıysa:
	  if (bms_data_ready == 1) {

	            bms_data_ready = 0; // Bayrağı hemen indir

	            // Ham byte dizisini float ve int değerlerine çevir
	            BMS_Mesajini_Coz();

	            // -> TEBRİKLER! VERİLER HAZIR <-
	            // Debug modunda "my_bms" struct'ını izlemeye al.
	            // my_bms.battery_volts 26.33 vb. değerleri canlı göreceksin.
	        }*/
	  // SoC - 0x1000
	             // DWIN_Ekrana_Yaz_RTOS(0x1000, my_bms.soc);

	              // Voltaj - 0x1060 (26.33V -> 263 gönderiyoruz)
	        //      DWIN_Float_Yaz(0x1060, my_bms.battery_volts);

	              // Akım - 0x1080
	           //   float gercek_akim = (float)my_bms.battery_current / 10.0f ;
	                        // Not: BMS akımı 100 katı veriyorsa burayı 100.0f yapmalısın.
	           //             DWIN_Float_Yaz(0x1080, gercek_akim);

	              // Sıcaklıklar
	           //   DWIN_Ekrana_Yaz_RTOS(0x1020, (uint16_t)my_bms.mos_temp);
	     //         DWIN_Ekrana_Yaz_RTOS(0x1040, (uint16_t)my_bms.batt_temp);
	       //       SOC_Bar_Guncelle(gercek_akim, my_bms.soc);
	  // <-- EKLE: SOC+bar+durum+renk
    Guvenlik_Task();   /* GUVENLIK: dongunun sonu, CAN kopsa da calisir */
    osDelay(100);
  }
  /* USER CODE END 5 */
}

void StartTask02(void *argument)
{
  /* USER CODE BEGIN StartTask02 */
  /* Infinite loop */
  for(;;)
  {
	SD_Log_Process();   /* SD: veri + olay kaydi (kart yoksa hemen doner) */
	//  HAL_GPIO_WritePin(GPIOA, GPIO_PIN_12, SET);

	  HAL_GPIO_WritePin(GPIOB, GPIO_PIN_13, RESET);
	  HAL_GPIO_WritePin(GPIOB, GPIO_PIN_14, RESET);

    osDelay(1000);
  }
  /* USER CODE END StartTask02 */
}

void HAL_TIM_PeriodElapsedCallback(TIM_HandleTypeDef *htim)
{
  if (htim->Instance == TIM2)
  {
    HAL_IncTick();
  }
}

void Error_Handler(void)
{
  __disable_irq();
  while (1)
  {
  }
}
